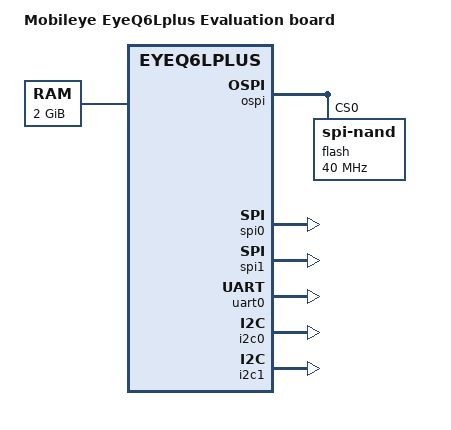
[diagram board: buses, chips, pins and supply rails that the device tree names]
// SPDX-License-Identifier: (GPL-2.0-only OR BSD-2-Clause)
/*
 * Copyright 2025 Mobileye Vision Technologies Ltd.
 */

/dts-v1/;

#include "eyeq6lplus.dtsi"

/ {
	compatible = "mobileye,eyeq6lplus-epm6", "mobileye,eyeq6lplus";
	model = "Mobileye EyeQ6Lplus Evaluation board";

	aliases {
		serial0 = &uart0;
	};

	chosen {
		stdout-path = "serial0:921600n8";
	};

	memory@0 {
		device_type = "memory";
		reg = <0x1 0x00000000 0x0 0x80000000>;
	};

	reserved-memory {
		#address-cells = <2>;
		#size-cells = <2>;
		ranges;

		/* These reserved memory regions are also defined in bootmanager
		 * for configuring inbound translation for BARS, don't change
		 * these without syncing with bootmanager
		 */
		mhm_reserved_0: the-mhm-reserved-0 {
			reg = <0x1 0x00000000 0x0 0x0000800>;
		};
		bm_logs_reserved: bm-logs-reserved {
			reg = <0x1 0x0000800 0x0 0x000f800>;
		};
		shmem0_reserved: shmem@804000000 {
			reg = <0x1 0x04000000 0x0 0x1000000>;
		};
		shmem1_reserved: shmem@805000000 {
			reg = <0x1 0x05000000 0x0 0x1000000>;
		};
		mini_coredump0_reserved: mini-coredump0@806200000 {
			reg = <0x1 0x06200000 0x0 0x100000>;
		};
		mailbox_reserved: mailbox-reserved {
			reg = <0x1 0x06300000 0x0 0x000300>;
		};
		sys_logs_reserved: sys-logs-reserved {
			reg = <0x1 0x10000000 0x0 0x800000>;
		};
		csl_policy_logs_reserved: csl-policy-logs-reserved {
			reg = <0x1 0x10800000 0x0 0x10000>;
		};
	};
};

&ospi {
	status = "okay";
	flash@0 {
		compatible = "spi-nand";
		reg = <0>;
		spi-max-frequency = <40000000>;
		cdns,read-delay = <0>;
		cdns,tshsl-ns = <400>;
		cdns,tsd2d-ns = <120>;
		cdns,tchsh-ns = <40>;
		cdns,tslch-ns = <20>;
		spi-tx-bus-width = <1>;
		spi-rx-bus-width = <8>;
	};
};

&spi0 {
	pinctrl-0 = <&spi0_pins>;
	pinctrl-names = "default";
	status = "okay";
};

&spi1 {
	pinctrl-0 = <&spi1_pins>;
	pinctrl-names = "default";
	status = "okay";
};

&uart0 {
	pinctrl-0 = <&uart0_pins>;
	pinctrl-names = "default";
	status = "okay";
};

&i2c0 {
	status = "okay";
};

&i2c1 {
	status = "okay";
};
